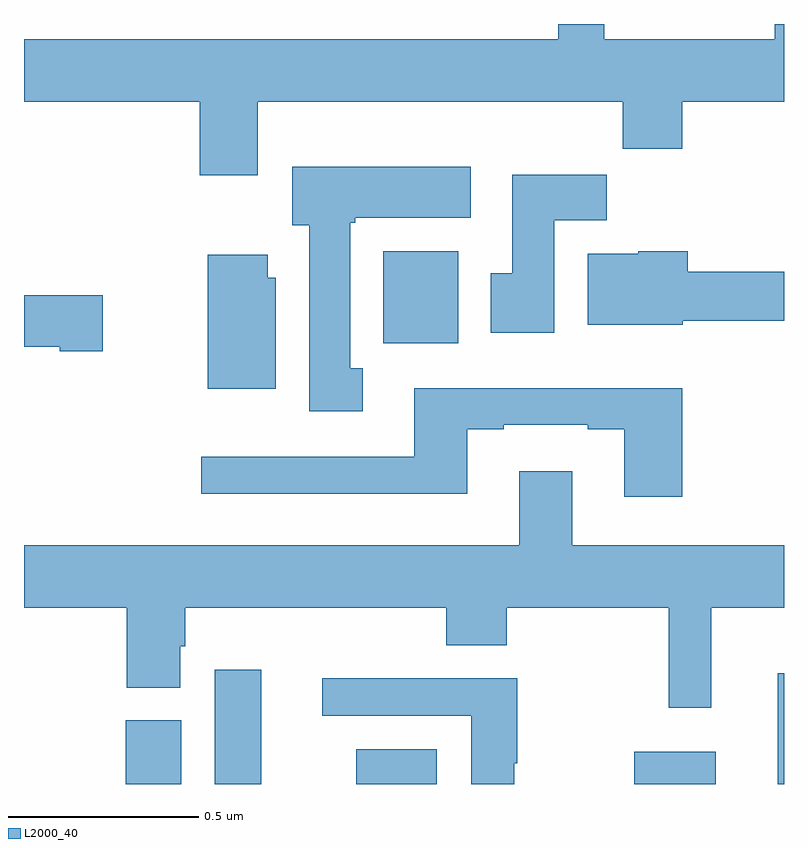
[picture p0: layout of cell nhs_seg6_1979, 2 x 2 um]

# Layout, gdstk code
import gdstk
lib = gdstk.Library(unit=1e-6, precision=1e-09)
def R(c, l, rs):  # rectangles x0, y0, x1, y1
    for r in rs: c.add(gdstk.rectangle(r[:2], r[2:], *l))
def P(c, l, *ps):  # polygons
    for p in ps: c.add(gdstk.Polygon(p, *l))
L2000_40 = (2000, 40)

nhs_seg6_1979 = lib.new_cell('nhs_seg6_1979')
R(nhs_seg6_1979, L2000_40, [(136.268,985.5,136.414,985.668), (136.502,985.5,136.624,985.801), (136.874,985.5,137.086,985.591), (137.606,985.5,137.821,985.585), (137.984,985.5,138,985.792), (136.946,986.66,137.143,986.902)])
P(nhs_seg6_1979, L2000_40, [(136.615,987.296),(137.575,987.296),(137.575,987.172),(137.732,987.172),(137.732,987.296),(138,987.296),(138,987.5),(137.976,987.5),(137.976,987.46),(137.527,987.46),(137.527,987.5),(137.406,987.5),(137.406,987.46),(136,987.46),(136,987.296),(136.463,987.296),(136.463,987.102),(136.615,987.102)],
  [(136.891,986.594),(136.858,986.594),(136.858,986.977),(136.872,986.977),(136.872,986.99),(137.176,986.99),(137.176,987.124),(136.706,987.124),(136.706,986.97),(136.751,986.97),(136.751,986.481),(136.891,986.481)],
  [(137.395,986.984),(137.534,986.984),(137.534,987.103),(137.285,987.103),(137.285,986.844),(137.228,986.844),(137.228,986.688),(137.395,986.688)],
  [(137.734,986.719),(138,986.719),(138,986.848),(137.747,986.848),(137.747,986.902),(137.616,986.902),(137.616,986.896),(137.483,986.896),(137.483,986.708),(137.734,986.708)],
  [(136.663,986.832),(136.642,986.832),(136.642,986.893),(136.484,986.893),(136.484,986.54),(136.663,986.54)],
  [(136.207,986.786),(136,986.786),(136,986.651),(136.094,986.651),(136.094,986.639),(136.207,986.639)],
  [(137.732,986.542),(137.027,986.542),(137.027,986.361),(136.467,986.361),(136.467,986.264),(137.167,986.264),(137.167,986.433),(137.263,986.433),(137.263,986.445),(137.483,986.445),(137.483,986.433),(137.579,986.433),(137.579,986.256),(137.732,986.256)],
  [(137.808,985.964),(138,985.964),(138,986.128),(137.443,986.128),(137.443,986.323),(137.303,986.323),(137.303,986.128),(136,986.128),(136,985.964),(136.271,985.964),(136.271,985.753),(136.411,985.753),(136.411,985.863),(136.424,985.863),(136.424,985.964),(137.111,985.964),(137.111,985.865),(137.271,985.865),(137.271,985.964),(137.697,985.964),(137.697,985.701),(137.808,985.701)],
  [(137.29,985.555),(137.298,985.555),(137.298,985.778),(136.785,985.778),(136.785,985.68),(137.177,985.68),(137.177,985.5),(137.29,985.5)])

lib.write_gds('nhs_seg6_1979.gds')
